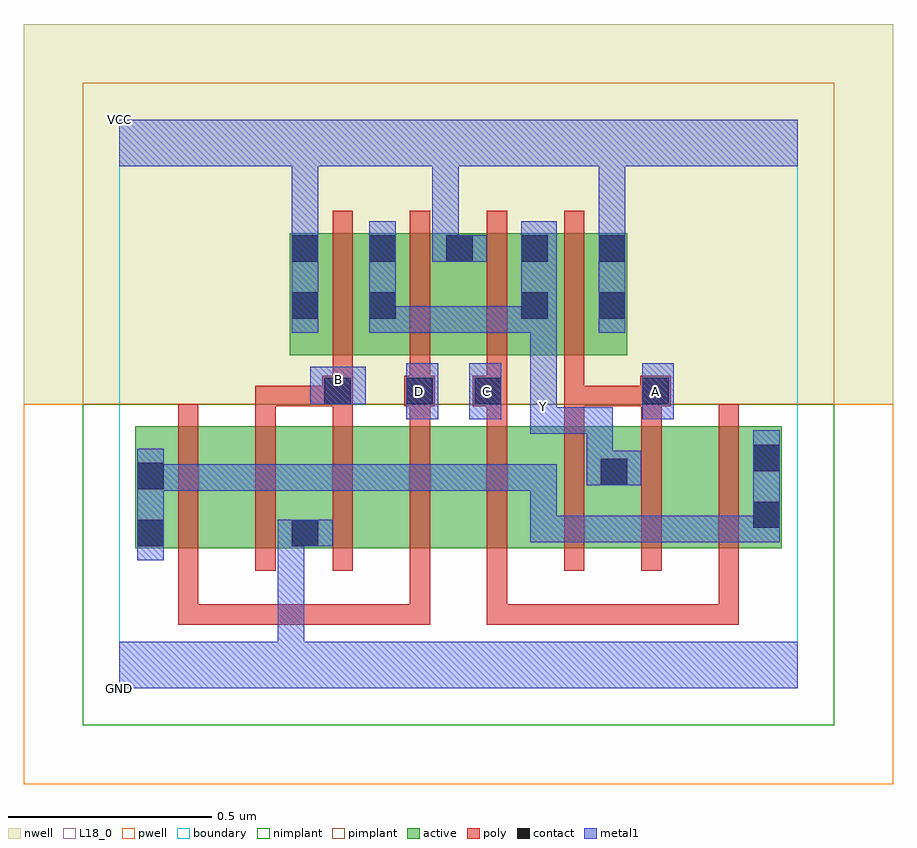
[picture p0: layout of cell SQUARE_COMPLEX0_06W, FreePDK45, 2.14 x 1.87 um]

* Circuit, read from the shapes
.subckt SQUARE_COMPLEX0_06W A B C D GND VCC Y
M1 n1 D n2 VSUBS nfet w=0.3u l=0.05u
M2 GND B n1 VSUBS nfet w=0.3u l=0.05u
M3 n3 B GND VSUBS nfet w=0.3u l=0.05u
M4 n4 D n3 VSUBS nfet w=0.3u l=0.05u
M5 n5 C n4 VSUBS nfet w=0.3u l=0.05u
M6 Y A n5 VSUBS nfet w=0.3u l=0.05u
M7 n6 A Y VSUBS nfet w=0.3u l=0.05u
M8 n2 C n6 VSUBS nfet w=0.3u l=0.05u
M9 Y B VCC n7 pfet w=0.3u l=0.05u
M10 VCC D Y n7 pfet w=0.3u l=0.05u
M11 Y C VCC n7 pfet w=0.3u l=0.05u
M12 VCC A Y n7 pfet w=0.3u l=0.05u
.ends

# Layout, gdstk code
import gdstk
lib = gdstk.Library(unit=1e-6, precision=1e-09)
def R(c, l, rs):  # rectangles x0, y0, x1, y1
    for r in rs: c.add(gdstk.rectangle(r[:2], r[2:], *l))
def A(c, l, x, y, w, h, nx, ny, dx, dy):  # array of equal rectangles
    R(c, l, [(x+i*dx, y+j*dy, x+i*dx+w, y+j*dy+h) for i in range(nx) for j in range(ny)])
active = (1, 0)
pwell = (2, 0)
nwell = (3, 0)
nimplant = (4, 0)
pimplant = (5, 0)
poly = (9, 0)
contact = (10, 0)
metal1 = (11, 0)
L18_0 = (18, 0)
boundary = (235, 0)

square_complex0_06w = lib.new_cell('SQUARE_COMPLEX0_06W')
R(square_complex0_06w, active, [(0.04,0.345,0.115,0.645), (0.04,0.345,0.265,0.645), (0.265,0.345,0.495,0.645), (0.42,0.345,0.495,0.645), (0.42,0.345,0.645,0.645), (0.645,0.345,0.835,0.645), (0.835,0.345,1.025,0.645), (1.025,0.345,1.255,0.645), (1.18,0.345,1.255,0.645), (1.18,0.345,1.405,0.645), (1.405,0.345,1.63,0.645), (1.555,0.345,1.63,0.645), (0.42,0.82,0.495,1.12), (0.42,0.82,0.685,1.12), (0.61,0.82,0.875,1.12), (0.8,0.82,1.06,1.12), (0.985,0.82,1.25,1.12), (1.175,0.82,1.25,1.12), (0.61,0.905,0.685,1.12), (0.985,0.905,1.06,1.12), (0.8,1.007,0.875,1.12)])
R(square_complex0_06w, pwell, [(-0.235,-0.235,1.905,0.7)])
R(square_complex0_06w, nwell, [(-0.235,0.7,1.905,1.635)])
R(square_complex0_06w, nimplant, [(-0.09,-0.09,1.76,0.7)])
R(square_complex0_06w, pimplant, [(-0.09,0.7,1.76,1.49)])
A(square_complex0_06w, poly, 0.145, 0.29, 0.05, 0.41, 8, 1, 0.19, 0)
A(square_complex0_06w, poly, 0.335, 0.65, 0.05, 0.095, 6, 1, 0.19, 0)
A(square_complex0_06w, poly, 0.525, 0.72, 0.05, 0.095, 3, 1, 0.19, 0)
A(square_complex0_06w, poly, 0.525, 0.765, 0.05, 0.41, 4, 1, 0.19, 0)
R(square_complex0_06w, poly, [(0.145,0.157,0.195,0.34), (0.145,0.157,0.195,0.207), (0.145,0.157,0.195,0.207), (0.145,0.157,0.195,0.207), (0.145,0.157,0.417,0.207), (0.367,0.157,0.417,0.207), (0.367,0.157,0.417,0.207), (0.367,0.157,0.417,0.207), (0.367,0.157,0.62,0.207), (0.57,0.157,0.62,0.207), (0.57,0.157,0.765,0.207), (0.715,0.157,0.765,0.34), (0.715,0.157,0.765,0.207), (0.715,0.157,0.765,0.207), (0.715,0.157,0.765,0.207), (0.905,0.157,0.955,0.34), (0.905,0.157,0.955,0.207), (0.905,0.157,0.955,0.207), (0.905,0.157,0.955,0.207), (0.905,0.157,1.2,0.207), (1.15,0.157,1.2,0.207), (1.15,0.157,1.2,0.207), (1.15,0.157,1.2,0.207), (1.15,0.157,1.392,0.207), (1.342,0.157,1.392,0.207), (1.342,0.157,1.525,0.207), (1.475,0.157,1.525,0.34), (1.475,0.157,1.525,0.207), (1.475,0.157,1.525,0.207), (1.475,0.157,1.525,0.207), (0.335,0.695,0.385,0.745), (0.335,0.695,0.55,0.745), (0.5,0.695,0.55,0.745), (0.5,0.695,0.55,0.745), (0.5,0.695,0.575,0.77), (0.702,0.695,0.777,0.77), (0.87,0.695,0.955,0.77), (1.095,0.695,1.145,0.745), (1.095,0.695,1.145,0.745), (1.095,0.695,1.145,0.745), (1.095,0.695,1.332,0.745), (1.095,0.695,1.145,0.815), (1.282,0.695,1.357,0.77)])
A(square_complex0_06w, contact, 0.425, 1.05, 0.065, 0.065, 3, 1, 0.19, 0)
R(square_complex0_06w, contact, [(0.045,0.35,0.11,0.415), (0.425,0.35,0.49,0.415), (1.56,0.395,1.625,0.46), (0.045,0.49,0.11,0.555), (1.185,0.5,1.25,0.565), (1.56,0.535,1.625,0.6), (0.505,0.7,0.57,0.765), (0.707,0.7,0.772,0.765), (0.875,0.7,0.94,0.765), (1.287,0.7,1.352,0.765), (0.425,0.91,0.49,0.975), (0.615,0.91,0.68,0.975), (0.99,0.91,1.055,0.975), (1.18,0.91,1.245,0.975), (0.99,1.05,1.055,1.115), (1.18,1.05,1.245,1.115)])
R(square_complex0_06w, metal1, [(0,0,1.67,0.115), (0.39,0.05,0.455,0.115), (0.39,0.05,0.455,0.115), (0.39,0.05,0.455,0.415), (0.045,0.315,0.11,0.59), (0.39,0.35,0.455,0.415), (0.39,0.35,0.455,0.415), (0.39,0.35,0.525,0.415), (1.012,0.36,1.077,0.425), (1.012,0.36,1.077,0.425), (1.012,0.36,1.077,0.425), (1.012,0.36,1.215,0.425), (1.012,0.36,1.077,0.552), (1.15,0.36,1.215,0.425), (1.15,0.36,1.422,0.425), (1.357,0.36,1.422,0.425), (1.357,0.36,1.422,0.425), (1.357,0.36,1.422,0.425), (1.357,0.36,1.422,0.425), (1.357,0.36,1.422,0.425), (1.357,0.36,1.625,0.425), (1.56,0.36,1.625,0.425), (1.56,0.36,1.625,0.425), (1.56,0.36,1.625,0.635), (0.045,0.487,0.11,0.552), (0.045,0.487,0.11,0.552), (0.045,0.487,0.317,0.552), (0.252,0.487,0.317,0.552), (0.252,0.487,0.317,0.552), (0.252,0.487,0.317,0.552), (0.252,0.487,0.542,0.552), (0.477,0.487,0.542,0.552), (0.477,0.487,0.542,0.552), (0.477,0.487,0.542,0.552), (0.477,0.487,0.697,0.552), (0.632,0.487,0.697,0.552), (0.632,0.487,0.697,0.552), (0.632,0.487,0.697,0.552), (0.632,0.487,0.917,0.552), (0.852,0.487,0.917,0.552), (0.852,0.487,0.917,0.552), (0.852,0.487,0.917,0.552), (0.852,0.487,1.077,0.552), (1.012,0.487,1.077,0.552), (1.15,0.5,1.285,0.585), (1.15,0.52,1.215,0.692), (1.012,0.627,1.215,0.692), (1.012,0.627,1.077,0.762), (1.15,0.627,1.215,0.692), (1.15,0.627,1.215,0.692), (1.15,0.627,1.215,0.692), (0.707,0.662,0.785,0.8), (0.862,0.662,0.94,0.8), (1.287,0.662,1.365,0.8), (1.012,0.697,1.077,0.94), (0.47,0.7,0.607,0.792), (0.425,0.875,0.49,1.15), (0.615,0.875,0.68,0.94), (0.615,0.875,0.68,0.94), (0.615,0.875,0.68,1.15), (0.615,0.875,0.917,0.94), (0.852,0.875,0.917,0.94), (0.852,0.875,0.917,0.94), (0.852,0.875,0.917,0.94), (0.852,0.875,1.055,0.94), (0.99,0.875,1.077,1.15), (1.18,0.875,1.245,1.15), (0.77,1.05,0.835,1.115), (0.77,1.05,0.835,1.115), (0.77,1.05,0.835,1.35), (0.77,1.05,0.905,1.115), (0.425,1.085,0.49,1.15), (0.425,1.085,0.49,1.15), (0.425,1.085,0.49,1.35), (1.18,1.085,1.245,1.15), (1.18,1.085,1.245,1.15), (1.18,1.085,1.245,1.35), (0,1.285,1.67,1.4)])
R(square_complex0_06w, L18_0, [(0,0,1.67,0.115), (0.39,0.05,0.455,0.115), (0.39,0.05,0.455,0.115), (0.39,0.05,0.455,0.415), (0.39,0.35,0.455,0.415), (0.39,0.35,0.455,0.415), (0.39,0.35,0.525,0.415), (1.15,0.5,1.285,0.585), (1.15,0.52,1.215,0.692), (1.012,0.627,1.077,0.762), (1.012,0.627,1.215,0.692), (1.15,0.627,1.215,0.692), (1.15,0.627,1.215,0.692), (1.15,0.627,1.215,0.692), (0.707,0.662,0.785,0.8), (0.862,0.662,0.94,0.8), (1.012,0.662,1.077,0.727), (1.287,0.662,1.365,0.8), (0.707,0.697,0.772,0.762), (0.872,0.697,0.937,0.762), (1.012,0.697,1.077,0.94), (1.287,0.697,1.352,0.762), (0.47,0.7,0.607,0.792), (0.507,0.727,0.572,0.792), (0.425,0.875,0.49,1.15), (0.615,0.875,0.68,0.94), (0.615,0.875,0.68,0.94), (0.615,0.875,0.68,1.15), (0.615,0.875,0.917,0.94), (0.852,0.875,0.917,0.94), (0.852,0.875,0.917,0.94), (0.852,0.875,0.917,0.94), (0.852,0.875,1.055,0.94), (0.99,0.875,1.077,1.15), (1.18,0.875,1.245,1.15), (0.77,1.05,0.835,1.115), (0.77,1.05,0.835,1.115), (0.77,1.05,0.905,1.115), (0.77,1.05,0.835,1.35), (0.425,1.085,0.49,1.15), (0.425,1.085,0.49,1.15), (0.425,1.085,0.49,1.35), (1.18,1.085,1.245,1.15), (1.18,1.085,1.245,1.15), (1.18,1.085,1.245,1.35), (0,1.285,1.67,1.4)])
R(square_complex0_06w, boundary, [(0,0,1.67,1.4)])
square_complex0_06w.add(gdstk.Label('A', (1.32,0.73), layer=11, texttype=0))
square_complex0_06w.add(gdstk.Label('B', (0.54,0.76), layer=11, texttype=0))
square_complex0_06w.add(gdstk.Label('C', (0.905,0.73), layer=11, texttype=0))
square_complex0_06w.add(gdstk.Label('D', (0.74,0.73), layer=11, texttype=0))
square_complex0_06w.add(gdstk.Label('Y', (1.045,0.695), layer=11, texttype=0))
square_complex0_06w.add(gdstk.Label('VCC', (0,1.4), layer=11, texttype=0))
square_complex0_06w.add(gdstk.Label('GND', (0,0), layer=11, texttype=0))

lib.write_gds('SQUARE_COMPLEX0_06W.gds')
